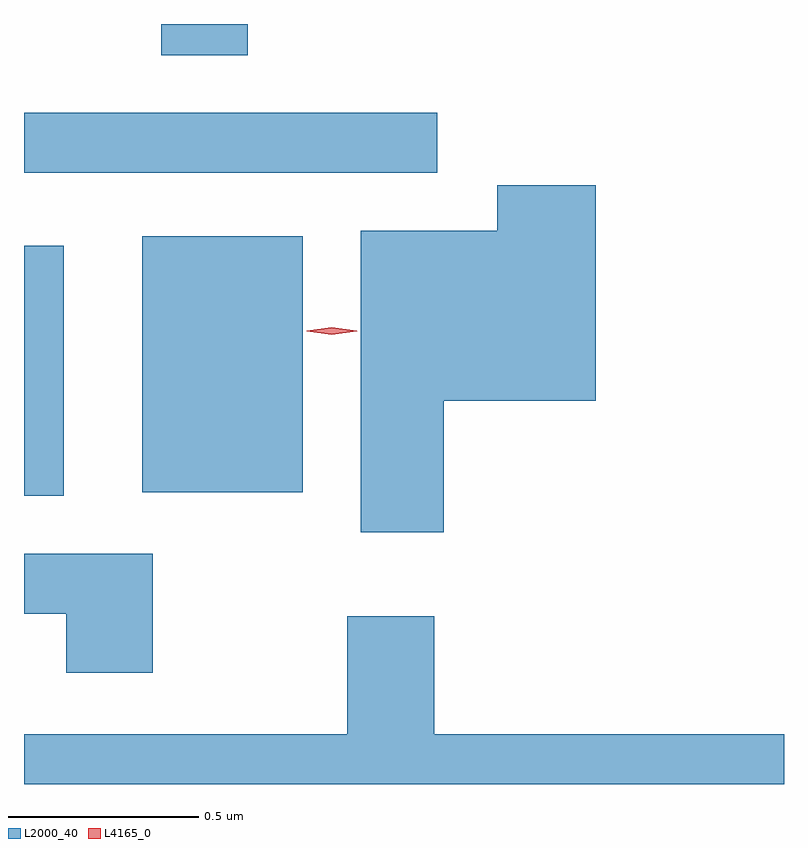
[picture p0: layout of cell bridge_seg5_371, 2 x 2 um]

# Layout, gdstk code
import gdstk
lib = gdstk.Library(unit=1e-6, precision=1e-09)
def R(c, l, rs):  # rectangles x0, y0, x1, y1
    for r in rs: c.add(gdstk.rectangle(r[:2], r[2:], *l))
def P(c, l, *ps):  # polygons
    for p in ps: c.add(gdstk.Polygon(p, *l))
L2000_40 = (2000, 40)
L4165_0 = (4165, 0)

bridge_seg5_371 = lib.new_cell('bridge_seg5_371')
R(bridge_seg5_371, L2000_40, [(781.23,1448.811,781.334,1449.469), (781.541,1448.821,781.964,1449.494), (781.23,1449.661,782.318,1449.819), (781.591,1449.971,781.819,1450.053)])
P(bridge_seg5_371, L2000_40, [(782.334,1449.061),(782.734,1449.061),(782.734,1449.629),(782.476,1449.629),(782.476,1449.509),(782.116,1449.509),(782.116,1448.716),(782.334,1448.716)],
  [(781.569,1448.659),(781.23,1448.659),(781.23,1448.501),(781.341,1448.501),(781.341,1448.346),(781.569,1448.346)],
  [(783.23,1448.184),(782.309,1448.184),(782.309,1448.494),(782.081,1448.494),(782.081,1448.184),(781.23,1448.184),(781.23,1448.053),(783.23,1448.053)])
P(bridge_seg5_371, L4165_0, [(782.04,1449.235),(781.974,1449.245),(781.974,1449.245),(781.974,1449.246),(782.04,1449.255),(782.106,1449.246),(782.107,1449.245),(782.106,1449.245)])

lib.write_gds('bridge_seg5_371.gds')
